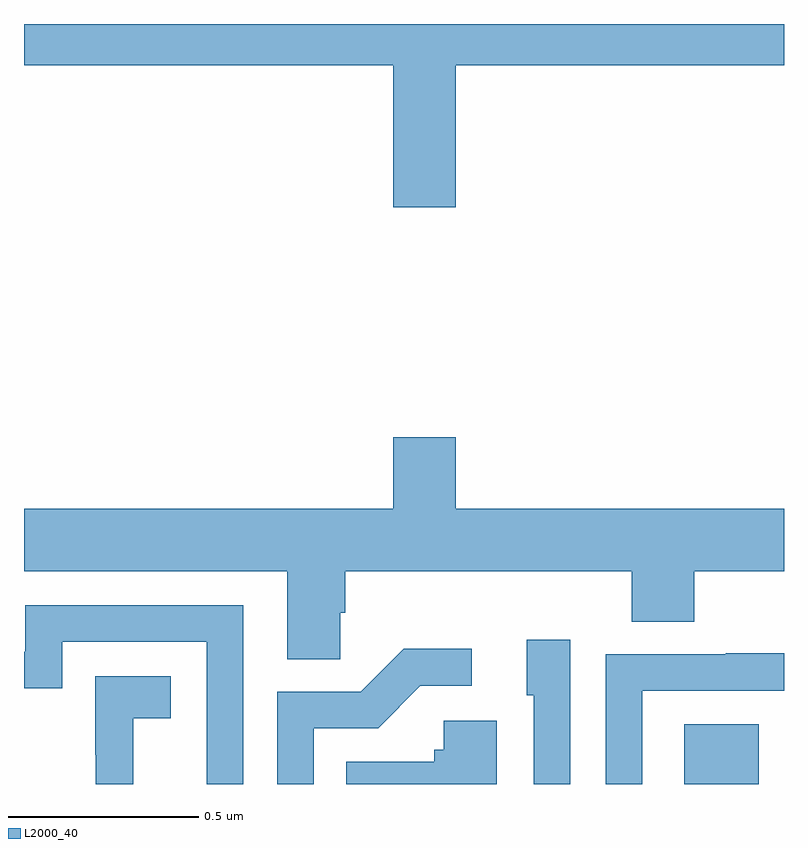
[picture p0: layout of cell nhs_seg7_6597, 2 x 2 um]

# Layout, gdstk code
import gdstk
lib = gdstk.Library(unit=1e-6, precision=1e-09)
def R(c, l, rs):  # rectangles x0, y0, x1, y1
    for r in rs: c.add(gdstk.rectangle(r[:2], r[2:], *l))
def P(c, l, *ps):  # polygons
    for p in ps: c.add(gdstk.Polygon(p, *l))
L2000_40 = (2000, 40)

nhs_seg7_6597 = lib.new_cell('nhs_seg7_6597')
R(nhs_seg7_6597, L2000_40, [(201.737,1056,201.934,1056.157)])
P(nhs_seg7_6597, L2000_40, [(201.136,1057.892),(202,1057.892),(202,1058),(200,1058),(200,1057.892),(200.972,1057.892),(200.972,1057.518),(201.136,1057.518)],
  [(200.832,1056.451),(200.846,1056.451),(200.846,1056.56),(201.599,1056.56),(201.599,1056.427),(201.764,1056.427),(201.764,1056.56),(202,1056.56),(202,1056.724),(201.136,1056.724),(201.136,1056.913),(200.972,1056.913),(200.972,1056.724),(200,1056.724),(200,1056.56),(200.693,1056.56),(200.693,1056.328),(200.832,1056.328)],
  [(200.577,1056.471),(200.003,1056.471),(200.003,1056.348),(200,1056.348),(200,1056.252),(200.1,1056.252),(200.1,1056.375),(200.481,1056.375),(200.481,1056),(200.577,1056)],
  [(201.438,1056.379),(201.323,1056.379),(201.323,1056.234),(201.342,1056.234),(201.342,1056),(201.438,1056)],
  [(200.763,1056.147),(200.932,1056.147),(201.043,1056.258),(201.178,1056.258),(201.178,1056.356),(200.999,1056.356),(200.886,1056.243),(200.667,1056.243),(200.667,1056),(200.763,1056)],
  [(201.627,1056.246),(202,1056.246),(202,1056.344),(201.847,1056.344),(201.847,1056.342),(201.531,1056.342),(201.531,1056),(201.627,1056)],
  [(200.288,1056.173),(200.386,1056.173),(200.386,1056.283),(200.188,1056.283),(200.188,1056.077),(200.189,1056.077),(200.189,1056),(200.288,1056)],
  [(201.244,1056.166),(201.105,1056.166),(201.105,1056.09),(201.079,1056.09),(201.079,1056.058),(200.848,1056.058),(200.848,1056),(201.244,1056)])

lib.write_gds('nhs_seg7_6597.gds')
